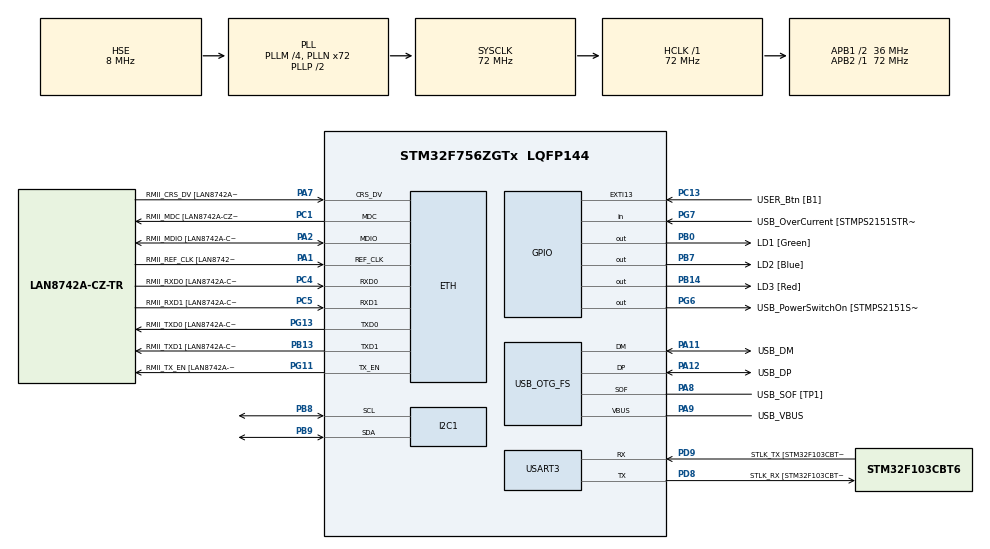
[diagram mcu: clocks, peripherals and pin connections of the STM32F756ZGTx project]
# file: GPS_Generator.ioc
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ETH.MediaInterface=HAL_ETH_RMII_MODE
ETH.PHY_Name=LAN8742A_PHY_ADDRESS
ETH.PHY_Value=0
ETH.PhyAddress=0
FREERTOS.Queues01=msgQueue,50,28,1,Dynamic,NULL,NULL
FREERTOS.Tasks01=defaultTask,24,256,StartGPSGenTask,Default,NULL,Dynamic,NULL,NULL;myTask02,8,256,blinking_led,Default,NULL,Dynamic,NULL,NULL
I2C1.OwnAddress=0x10
I2C1.Timing=0x00808CD2
Mcu.Family=STM32F7
Mcu.Name=STM32F756ZGTx
Mcu.Package=LQFP144
NVIC.I2C1_ER_IRQn=true\:5\:0\:true\:false\:true\:true\:true\:true\:true
NVIC.I2C1_EV_IRQn=true\:5\:0\:true\:false\:true\:true\:true\:true\:true
NVIC.PriorityGroup=NVIC_PRIORITYGROUP_4
PA1.GPIO_Label=RMII_REF_CLK [LAN8742A-CZ-TR_REFCLK0]
PA1.Mode=RMII
PA1.Signal=ETH_REF_CLK
PA10.GPIO_Label=USB_ID
PA10.Signal=USB_OTG_FS_ID
PA11.GPIO_Label=USB_DM
PA11.Mode=Device_Only
PA11.Signal=USB_OTG_FS_DM
PA12.GPIO_Label=USB_DP
PA12.Mode=Device_Only
PA12.Signal=USB_OTG_FS_DP
PA13.GPIO_Label=TMS
PA13.Mode=Serial_Wire
PA13.Signal=SYS_JTMS-SWDIO
PA14.GPIO_Label=TCK
PA14.Mode=Serial_Wire
PA14.Signal=SYS_JTCK-SWCLK
PA2.GPIO_Label=RMII_MDIO [LAN8742A-CZ-TR_MDIO]
PA2.Mode=RMII
PA2.Signal=ETH_MDIO
PA7.GPIO_Label=RMII_CRS_DV [LAN8742A-CZ-TR_CRS_DV]
PA7.Mode=RMII
PA7.Signal=ETH_CRS_DV
PA8.GPIO_Label=USB_SOF [TP1]
PA8.Mode=Activate_SOF_FS
PA8.Signal=USB_OTG_FS_SOF
PA9.GPIO_Label=USB_VBUS
PA9.Mode=Activate_VBUS
PA9.Signal=USB_OTG_FS_VBUS
PB0.GPIO_Label=LD1 [Green]
PB0.Signal=GPIO_Output
PB13.GPIO_Label=RMII_TXD1 [LAN8742A-CZ-TR_TXD1]
PB13.Mode=RMII
PB13.Signal=ETH_TXD1
PB14.GPIO_Label=LD3 [Red]
PB14.Signal=GPIO_Output
PB3.GPIO_Label=SW0
PB3.Signal=SYS_JTDO-SWO
PB7.GPIO_Label=LD2 [Blue]
PB7.Signal=GPIO_Output
PB8.GPIO_Pu=GPIO_PULLUP
PB8.Mode=I2C
PB8.Signal=I2C1_SCL
PB9.GPIO_Pu=GPIO_PULLUP
PB9.Mode=I2C
PB9.Signal=I2C1_SDA
PC1.GPIO_Label=RMII_MDC [LAN8742A-CZ-TR_MDC]
PC1.Mode=RMII
PC1.Signal=ETH_MDC
PC13.GPIO_Label=USER_Btn [B1]
PC13.Signal=GPXTI13
PC14/OSC32_IN.Mode=LSE-External-Oscillator
PC14/OSC32_IN.Signal=RCC_OSC32_IN
PC15/OSC32_OUT.Mode=LSE-External-Oscillator
PC15/OSC32_OUT.Signal=RCC_OSC32_OUT
PC4.GPIO_Label=RMII_RXD0 [LAN8742A-CZ-TR_RXD0]
PC4.Mode=RMII
PC4.Signal=ETH_RXD0
PC5.GPIO_Label=RMII_RXD1 [LAN8742A-CZ-TR_RXD1]
PC5.Mode=RMII
PC5.Signal=ETH_RXD1
PD8.GPIO_Label=STLK_RX [STM32F103CBT6_PA3]
PD8.Mode=Asynchronous
PD8.Signal=USART3_TX
PD9.GPIO_Label=STLK_TX [STM32F103CBT6_PA2]
PD9.Mode=Asynchronous
PD9.Signal=USART3_RX
PG11.GPIO_Label=RMII_TX_EN [LAN8742A-CZ-TR_TXEN]
PG11.Mode=RMII
PG11.Signal=ETH_TX_EN
PG13.GPIO_Label=RMII_TXD0 [LAN8742A-CZ-TR_TXD0]
PG13.Mode=RMII
PG13.Signal=ETH_TXD0
PG6.GPIO_Label=USB_PowerSwitchOn [STMPS2151STR_EN]
PG6.Signal=GPIO_Output
PG7.GPIO_Label=USB_OverCurrent [STMPS2151STR_FAULT]
PG7.Signal=GPIO_Input
PH0/OSC_IN.GPIO_Label=MCO [STM32F103CBT6_PA8]
PH0/OSC_IN.Mode=HSE-External-Clock-Source
PH0/OSC_IN.Signal=RCC_OSC_IN
PH1/OSC_OUT.Mode=HSE-External-Clock-Source
PH1/OSC_OUT.Signal=RCC_OSC_OUT
ProjectManager.HeapSize=0x200
ProjectManager.StackSize=0x400
ProjectManager.TargetToolchain=STM32CubeIDE
RCC.48MHZClocksFreq_Value=24000000
RCC.AHBFreq_Value=72000000
RCC.APB1CLKDivider=RCC_HCLK_DIV2
RCC.APB1Freq_Value=36000000
RCC.APB1TimFreq_Value=72000000
RCC.APB2Freq_Value=72000000
RCC.APB2TimFreq_Value=72000000
RCC.CortexFreq_Value=72000000
RCC.HCLKFreq_Value=72000000
RCC.HSE_VALUE=8000000
RCC.HSI_VALUE=16000000
RCC.PLLM=4
RCC.PLLMUL=RCC_PLL_MUL9
RCC.PLLN=72
RCC.PLLQ=3
RCC.PRESCALERUSB=RCC_USBCLKSOURCE_PLL_DIV1_5
RCC.SYSCLKFreq_VALUE=72000000
RCC.SYSCLKSource=RCC_SYSCLKSOURCE_PLLCLK
RCC.SYSCLKSourceVirtual=RCC_SYSCLKSOURCE_PLLCLK
RCC.USBFreq_Value=48000000
RCC.VCOOutputFreq_Value=144000000
USART3.VirtualMode-Asynchronous=VM_ASYNC
USB_OTG_FS.VirtualMode=Device_Only
VP_FREERTOS_VS_CMSIS_V2.Mode=CMSIS_V2
board=NUCLEO-F756ZG

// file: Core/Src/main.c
/* USER CODE BEGIN Header */
/**
  ******************************************************************************
  * @file           : main.c
  * @brief          : Main program body
  ******************************************************************************
  * @attention
  *
  * Copyright (c) 2025 STMicroelectronics.
  * All rights reserved.
  *
  * This software is licensed under terms that can be found in the LICENSE file
  * in the root directory of this software component.
  * If no LICENSE file comes with this software, it is provided AS-IS.
  *
  ******************************************************************************
  */
/* USER CODE END Header */
#include "main.h"
#include "string.h"
#include "cmsis_os.h"

/* USER CODE BEGIN Includes */
#include <stdlib.h>   // for rand() and RAND_MAX
#include "park_msg_protocol.h"

/* USER CODE END Includes */

#if defined ( __ICCARM__ ) /*!< IAR Compiler */
#pragma location=0x2004c000
ETH_DMADescTypeDef  DMARxDscrTab[ETH_RX_DESC_CNT]; /* Ethernet Rx DMA Descriptors */
#pragma location=0x2004c0a0
ETH_DMADescTypeDef  DMATxDscrTab[ETH_TX_DESC_CNT]; /* Ethernet Tx DMA Descriptors */

#elif defined ( __CC_ARM )  /* MDK ARM Compiler */

__attribute__((at(0x2004c000))) ETH_DMADescTypeDef  DMARxDscrTab[ETH_RX_DESC_CNT]; /* Ethernet Rx DMA Descriptors */
__attribute__((at(0x2004c0a0))) ETH_DMADescTypeDef  DMATxDscrTab[ETH_TX_DESC_CNT]; /* Ethernet Tx DMA Descriptors */

#elif defined ( __GNUC__ ) /* GNU Compiler */

ETH_DMADescTypeDef DMARxDscrTab[ETH_RX_DESC_CNT] __attribute__((section(".RxDecripSection"))); /* Ethernet Rx DMA Descriptors */
ETH_DMADescTypeDef DMATxDscrTab[ETH_TX_DESC_CNT] __attribute__((section(".TxDecripSection")));   /* Ethernet Tx DMA Descriptors */
#endif

ETH_TxPacketConfig TxConfig;

ETH_HandleTypeDef heth;

I2C_HandleTypeDef hi2c1;

UART_HandleTypeDef huart3;

PCD_HandleTypeDef hpcd_USB_OTG_FS;

/* Definitions for defaultTask */
osThreadId_t defaultTaskHandle;
const osThreadAttr_t defaultTask_attributes = {
  .name = "defaultTask",
  .stack_size = 256 * 4,
  .priority = (osPriority_t) osPriorityNormal,
};
/* Definitions for myTask02 */
osThreadId_t myTask02Handle;
const osThreadAttr_t myTask02_attributes = {
  .name = "myTask02",
  .stack_size = 256 * 4,
  .priority = (osPriority_t) osPriorityLow,
};
/* Definitions for myTask03 */
osThreadId_t myTask03Handle;
const osThreadAttr_t myTask03_attributes = {
  .name = "myTask03",
  .stack_size = 256 * 4,
  .priority = (osPriority_t) osPriorityLow,
};
/* Definitions for msgQueue */
osMessageQueueId_t msgQueueHandle;
const osMessageQueueAttr_t msgQueue_attributes = {
  .name = "msgQueue"
};
/* USER CODE BEGIN PV */
static parking_message_t tx_msg;
static volatile uint8_t tx_ready = 0;
/* USER CODE END PV */

void SystemClock_Config(void);
static void MX_GPIO_Init(void);
static void MX_ETH_Init(void);
static void MX_USART3_UART_Init(void);
static void MX_USB_OTG_FS_PCD_Init(void);
static void MX_I2C1_Init(void);
void StartGPSGenTask(void *argument);
void blinking_led(void *argument);
void get_from_queue(void *argument);

int main(void)
{

  /* MCU Configuration--------------------------------------------------------*/

  /* Reset of all peripherals, Initializes the Flash interface and the Systick. */
  HAL_Init();

  /* Configure the system clock */
  SystemClock_Config();

  /* Initialize all configured peripherals */
  MX_GPIO_Init();
  MX_ETH_Init();
  MX_USART3_UART_Init();
  MX_USB_OTG_FS_PCD_Init();
  MX_I2C1_Init();
  /* USER CODE BEGIN 2 */
  srand(HAL_GetTick()); // Seed the random generator

  if (HAL_I2C_EnableListen_IT(&hi2c1) != HAL_OK) {
      // If this triggers, your I2C peripheral failed to start listening
      HAL_GPIO_WritePin(GPIOB, LD3_Pin, GPIO_PIN_SET); // Turn on Red LED
      Error_Handler();
  }
//  memset(&tx_msg, 0, sizeof(tx_msg));
//   tx_msg.is_parking = -1;
//   tx_ready = 1;
//	HAL_I2C_Slave_Transmit_IT(&hi2c1, (uint8_t*)&tx_msg, sizeof(tx_msg));

//   // 2. Clear any old bus errors
//   __HAL_I2C_CLEAR_FLAG(&hi2c1, I2C_FLAG_AF | I2C_FLAG_BERR);
//// start listening to master
//   HAL_I2C_EnableListen_IT(&hi2c1); // Start the state machine

  /* USER CODE END 2 */

  /* Init scheduler */
  osKernelInitialize();

  /* Create the queue(s) */
  /* creation of msgQueue */
  msgQueueHandle = osMessageQueueNew (50, 28, &msgQueue_attributes);

  /* Create the thread(s) */
  /* creation of defaultTask */
  defaultTaskHandle = osThreadNew(StartGPSGenTask, NULL, &defaultTask_attributes);

  /* creation of myTask02 */
  myTask02Handle = osThreadNew(blinking_led, NULL, &myTask02_attributes);

  /* creation of myTask03 */
  myTask03Handle = osThreadNew(get_from_queue, NULL, &myTask03_attributes);

  /* Start scheduler */
  osKernelStart();

  /* We should never get here as control is now taken by the scheduler */

  /* Infinite loop */
  while (1)
  {

  }
}

void SystemClock_Config(void)
{
  RCC_OscInitTypeDef RCC_OscInitStruct = {0};
  RCC_ClkInitTypeDef RCC_ClkInitStruct = {0};

  /** Configure LSE Drive Capability
  */
  HAL_PWR_EnableBkUpAccess();

  /** Configure the main internal regulator output voltage
  */
  __HAL_RCC_PWR_CLK_ENABLE();
  __HAL_PWR_VOLTAGESCALING_CONFIG(PWR_REGULATOR_VOLTAGE_SCALE3);

  /** Initializes the RCC Oscillators according to the specified parameters
  * in the RCC_OscInitTypeDef structure.
  */
  RCC_OscInitStruct.OscillatorType = RCC_OSCILLATORTYPE_HSE;
  RCC_OscInitStruct.HSEState = RCC_HSE_BYPASS;
  RCC_OscInitStruct.PLL.PLLState = RCC_PLL_ON;
  RCC_OscInitStruct.PLL.PLLSource = RCC_PLLSOURCE_HSE;
  RCC_OscInitStruct.PLL.PLLM = 4;
  RCC_OscInitStruct.PLL.PLLN = 72;
  RCC_OscInitStruct.PLL.PLLP = RCC_PLLP_DIV2;
  RCC_OscInitStruct.PLL.PLLQ = 3;
  if (HAL_RCC_OscConfig(&RCC_OscInitStruct) != HAL_OK)
  {
    Error_Handler();
  }

  /** Initializes the CPU, AHB and APB buses clocks
  */
  RCC_ClkInitStruct.ClockType = RCC_CLOCKTYPE_HCLK|RCC_CLOCKTYPE_SYSCLK
                              |RCC_CLOCKTYPE_PCLK1|RCC_CLOCKTYPE_PCLK2;
  RCC_ClkInitStruct.SYSCLKSource = RCC_SYSCLKSOURCE_PLLCLK;
  RCC_ClkInitStruct.AHBCLKDivider = RCC_SYSCLK_DIV1;
  RCC_ClkInitStruct.APB1CLKDivider = RCC_HCLK_DIV2;
  RCC_ClkInitStruct.APB2CLKDivider = RCC_HCLK_DIV1;

  if (HAL_RCC_ClockConfig(&RCC_ClkInitStruct, FLASH_LATENCY_2) != HAL_OK)
  {
    Error_Handler();
  }
}

static void MX_ETH_Init(void)
{

   static uint8_t MACAddr[6];

  heth.Instance = ETH;
  MACAddr[0] = 0x00;
  MACAddr[1] = 0x80;
  MACAddr[2] = 0xE1;
  MACAddr[3] = 0x00;
  MACAddr[4] = 0x00;
  MACAddr[5] = 0x00;
  heth.Init.MACAddr = &MACAddr[0];
  heth.Init.MediaInterface = HAL_ETH_RMII_MODE;
  heth.Init.TxDesc = DMATxDscrTab;
  heth.Init.RxDesc = DMARxDscrTab;
  heth.Init.RxBuffLen = 1524;

  if (HAL_ETH_Init(&heth) != HAL_OK)
  {
    Error_Handler();
  }

  memset(&TxConfig, 0 , sizeof(ETH_TxPacketConfig));
  TxConfig.Attributes = ETH_TX_PACKETS_FEATURES_CSUM | ETH_TX_PACKETS_FEATURES_CRCPAD;
  TxConfig.ChecksumCtrl = ETH_CHECKSUM_IPHDR_PAYLOAD_INSERT_PHDR_CALC;
  TxConfig.CRCPadCtrl = ETH_CRC_PAD_INSERT;

}

static void MX_I2C1_Init(void)
{

  hi2c1.Instance = I2C1;
  hi2c1.Init.Timing = 0x00808CD2;
  hi2c1.Init.OwnAddress1 = 32;
  hi2c1.Init.AddressingMode = I2C_ADDRESSINGMODE_7BIT;
  hi2c1.Init.DualAddressMode = I2C_DUALADDRESS_DISABLE;
  hi2c1.Init.OwnAddress2 = 0;
  hi2c1.Init.OwnAddress2Masks = I2C_OA2_NOMASK;
  hi2c1.Init.GeneralCallMode = I2C_GENERALCALL_DISABLE;
  hi2c1.Init.NoStretchMode = I2C_NOSTRETCH_DISABLE;
  if (HAL_I2C_Init(&hi2c1) != HAL_OK)
  {
    Error_Handler();
  }

  /** Configure Analogue filter
  */
  if (HAL_I2CEx_ConfigAnalogFilter(&hi2c1, I2C_ANALOGFILTER_ENABLE) != HAL_OK)
  {
    Error_Handler();
  }

  /** Configure Digital filter
  */
  if (HAL_I2CEx_ConfigDigitalFilter(&hi2c1, 0) != HAL_OK)
  {
    Error_Handler();
  }

}

static void MX_USART3_UART_Init(void)
{

  huart3.Instance = USART3;
  huart3.Init.BaudRate = 115200;
  huart3.Init.WordLength = UART_WORDLENGTH_8B;
  huart3.Init.StopBits = UART_STOPBITS_1;
  huart3.Init.Parity = UART_PARITY_NONE;
  huart3.Init.Mode = UART_MODE_TX_RX;
  huart3.Init.HwFlowCtl = UART_HWCONTROL_NONE;
  huart3.Init.OverSampling = UART_OVERSAMPLING_16;
  huart3.Init.OneBitSampling = UART_ONE_BIT_SAMPLE_DISABLE;
  huart3.AdvancedInit.AdvFeatureInit = UART_ADVFEATURE_NO_INIT;
  if (HAL_UART_Init(&huart3) != HAL_OK)
  {
    Error_Handler();
  }

}

static void MX_USB_OTG_FS_PCD_Init(void)
{

  hpcd_USB_OTG_FS.Instance = USB_OTG_FS;
  hpcd_USB_OTG_FS.Init.dev_endpoints = 6;
  hpcd_USB_OTG_FS.Init.speed = PCD_SPEED_FULL;
  hpcd_USB_OTG_FS.Init.dma_enable = DISABLE;
  hpcd_USB_OTG_FS.Init.phy_itface = PCD_PHY_EMBEDDED;
  hpcd_USB_OTG_FS.Init.Sof_enable = ENABLE;
  hpcd_USB_OTG_FS.Init.low_power_enable = DISABLE;
  hpcd_USB_OTG_FS.Init.lpm_enable = DISABLE;
  hpcd_USB_OTG_FS.Init.vbus_sensing_enable = ENABLE;
  hpcd_USB_OTG_FS.Init.use_dedicated_ep1 = DISABLE;
  if (HAL_PCD_Init(&hpcd_USB_OTG_FS) != HAL_OK)
  {
    Error_Handler();
  }

}

static void MX_GPIO_Init(void)
{
  GPIO_InitTypeDef GPIO_InitStruct = {0};

  /* GPIO Ports Clock Enable */
  __HAL_RCC_GPIOC_CLK_ENABLE();
  __HAL_RCC_GPIOH_CLK_ENABLE();
  __HAL_RCC_GPIOA_CLK_ENABLE();
  __HAL_RCC_GPIOB_CLK_ENABLE();
  __HAL_RCC_GPIOD_CLK_ENABLE();
  __HAL_RCC_GPIOG_CLK_ENABLE();

  /*Configure GPIO pin Output Level */
  HAL_GPIO_WritePin(GPIOB, LD1_Pin|LD3_Pin|LD2_Pin, GPIO_PIN_RESET);

  /*Configure GPIO pin Output Level */
  HAL_GPIO_WritePin(USB_PowerSwitchOn_GPIO_Port, USB_PowerSwitchOn_Pin, GPIO_PIN_RESET);

  /*Configure GPIO pin : USER_Btn_Pin */
  GPIO_InitStruct.Pin = USER_Btn_Pin;
  GPIO_InitStruct.Mode = GPIO_MODE_IT_RISING;
  GPIO_InitStruct.Pull = GPIO_NOPULL;
  HAL_GPIO_Init(USER_Btn_GPIO_Port, &GPIO_InitStruct);

  /*Configure GPIO pins : LD1_Pin LD3_Pin LD2_Pin */
  GPIO_InitStruct.Pin = LD1_Pin|LD3_Pin|LD2_Pin;
  GPIO_InitStruct.Mode = GPIO_MODE_OUTPUT_PP;
  GPIO_InitStruct.Pull = GPIO_NOPULL;
  GPIO_InitStruct.Speed = GPIO_SPEED_FREQ_LOW;
  HAL_GPIO_Init(GPIOB, &GPIO_InitStruct);

  /*Configure GPIO pin : USB_PowerSwitchOn_Pin */
  GPIO_InitStruct.Pin = USB_PowerSwitchOn_Pin;
  GPIO_InitStruct.Mode = GPIO_MODE_OUTPUT_PP;
  GPIO_InitStruct.Pull = GPIO_NOPULL;
  GPIO_InitStruct.Speed = GPIO_SPEED_FREQ_LOW;
  HAL_GPIO_Init(USB_PowerSwitchOn_GPIO_Port, &GPIO_InitStruct);

  /*Configure GPIO pin : USB_OverCurrent_Pin */
  GPIO_InitStruct.Pin = USB_OverCurrent_Pin;
  GPIO_InitStruct.Mode = GPIO_MODE_INPUT;
  GPIO_InitStruct.Pull = GPIO_NOPULL;
  HAL_GPIO_Init(USB_OverCurrent_GPIO_Port, &GPIO_InitStruct);

}

/* USER CODE BEGIN 4 */
void HAL_I2C_SlaveTxCpltCallback(I2C_HandleTypeDef *hi2c)
{
	printf("msg transmit complete\r\n");
	tx_ready = 0;
    HAL_I2C_EnableListen_IT(hi2c);
}

void HAL_I2C_ErrorCallback(I2C_HandleTypeDef *hi2c)
{
    HAL_I2C_EnableListen_IT(hi2c);
}
void HAL_I2C_ListenCpltCallback(I2C_HandleTypeDef *hi2c)
{
	HAL_I2C_EnableListen_IT(hi2c);
}

void HAL_I2C_AddrCallback(I2C_HandleTypeDef *hi2c, uint8_t TransferDirection, uint16_t AddrMatchCode)
{
    if (TransferDirection == I2C_DIRECTION_RECEIVE) // Master wants to READ
    {
     	HAL_I2C_Slave_Seq_Transmit_IT(hi2c, (uint8_t*)&tx_msg, sizeof(tx_msg), I2C_LAST_FRAME);
    }
}

//void generate_random_gps(const char* car)
//{
//	parking_message_t msg={0};
//
//	memset(&msg, 0, sizeof(msg));
////    strncpy(msg.vehicle_id, car,sizeof(msg.vehicle_id) - 1);
//
//	// Generate a random car number between 0 and 999
//	int random_num = rand() % 1000;
//
//	// Format the string: "CAR" + 3-digit number with leading zeros
//	snprintf(msg.vehicle_id, sizeof(msg.vehicle_id), "CAR%03d", random_num);
//
//    msg.lat = ((float)rand() / (float)RAND_MAX) * 100.0f;
//    msg.lon = ((float)rand() / (float)RAND_MAX) * 100.0f;
//
//    msg.is_parking = PARK_START;
//    msg.time = 0; //HAL_GetTick(); // or RTC time
//
//    if (osMessageQueuePut(msgQueueHandle, &msg, 0, 0) != osOK){
//    }
//    osDelay(1000 + rand() % 19901);
//    msg.is_parking = PARK_END;
//    if (osMessageQueuePut(msgQueueHandle, &msg, 0, 0) != osOK){
//    }
//}

int __io_putchar(int ch)
{
    HAL_UART_Transmit(&huart3, (uint8_t*)&ch, 1, HAL_MAX_DELAY);
    return ch;
}
/* USER CODE END 4 */

void StartGPSGenTask(void *argument)
{
  /* USER CODE BEGIN 5 */
	printf("GPS generator starts\r\n");
//	generate_random_gps("CAR001");
////	osDelay(100 + rand()%1900);
//	generate_random_gps("CAR002");
////	osDelay(100 + rand()%1900);
//	generate_random_gps("CAR003");
//	osDelay(100 + rand()%1900);

  /* Infinite loop */
  for(;;)
  {
	parking_message_t msg={0};

	memset(&msg, 0, sizeof(msg));
	// strncpy(msg.vehicle_id, car,sizeof(msg.vehicle_id) - 1);

	// Generate a random car number between 0 and 999
	int random_num = rand() % 1000;

	// Format the string: "CAR" + 3-digit number with leading zeros
	snprintf(msg.vehicle_id, sizeof(msg.vehicle_id), "CAR%03d", random_num);

	msg.lat = ((float)rand() / (float)RAND_MAX) * 100.0f;
	msg.lon = ((float)rand() / (float)RAND_MAX) * 100.0f;

	msg.is_parking = PARK_START;
	msg.time = 0; //HAL_GetTick(); // or RTC time

	if (osMessageQueuePut(msgQueueHandle, &msg, 0, 0) != osOK){
	}
	osDelay(1000 + rand() % 19901);
	msg.is_parking = PARK_END;
	if (osMessageQueuePut(msgQueueHandle, &msg, 0, 0) != osOK){
	}

  }
  /* USER CODE END 5 */
}

void blinking_led(void *argument)
{
  /* USER CODE BEGIN blinking_led */
  /* Infinite loop */
  for(;;)
  {
	HAL_GPIO_TogglePin(GPIOB, GPIO_PIN_7);
	osDelay(1000);
  }
  /* USER CODE END blinking_led */
}

void get_from_queue(void *argument)
{
  /* USER CODE BEGIN get_from_queue */
	// Set initial "No Data" state
	memset(&tx_msg, 0, sizeof(tx_msg));
	tx_msg.is_parking = -1;
  /* Infinite loop */
  for(;;)
  {
	if (!tx_ready || tx_msg.is_parking == -1) {
		if (osMessageQueueGet(msgQueueHandle, &tx_msg, NULL, 0) != osOK) {
			memset(&tx_msg, 0, sizeof(tx_msg));
			tx_msg.is_parking = -1;
		}
		tx_ready = 1;
	}
	osDelay(100); // Give 100ms to other tasks and the system
  /* USER CODE END get_from_queue */
  }
}

void Error_Handler(void)
{
  __disable_irq();
  while (1)
  {
  }
}
